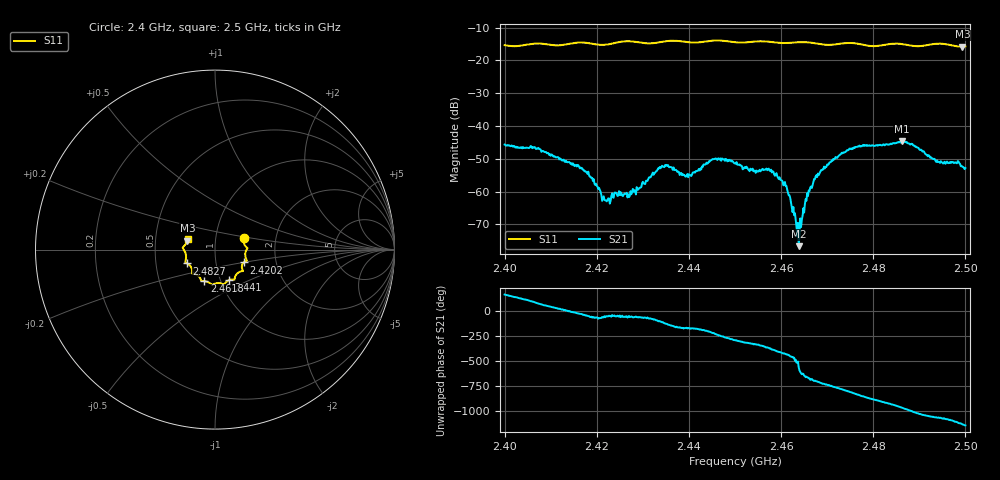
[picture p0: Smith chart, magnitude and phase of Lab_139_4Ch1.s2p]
# Hz S RI R 50
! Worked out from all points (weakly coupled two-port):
!   601 points, 2.4 GHz to 2.5 GHz, reference 50 ohm
!   highest |S21| = -44.68 dB at 2.4862 GHz (marker M1); lowest = -76.7 dB at 2.4638 GHz (marker M2)
!   lowest |S11| = -15.8 dB at 2.4993 GHz (marker M3), VSWR 1.39, Z = 36.5 + j3.8 ohm
!   |S11| at or under -10 dB: start of sweep to end of sweep
!   S12 and S22 are empty: the file has one direction only
!   S11 on the Smith chart (normalised r, x): 2.4 GHz: 1.36, +0.18; 2.4202 GHz: 1.36, -0.20; 2.441 GHz: 1.10, -0.39; 2.4618 GHz: 0.84, -0.30; 2.4827 GHz: 0.72, -0.11; 2.5 GHz: 0.73, +0.09
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2.4e9  0.1589 0.0628  -0.00512 0.000889  0 0  0 0
2.407e9  0.1808 0.0086  0.000406 0.00452  0 0  0 0
2.416667e9  0.1774 -0.0608  0.00203 -0.00097  0 0  0 0
2.420167e9  0.1589 -0.0717  0.000503 -0.00107  0 0  0 0
2.421667e9  0.1512 -0.0842  0.000491 -0.00056  0 0  0 0
2.427167e9  0.1553 -0.1193  0.000475 -0.000712  0 0  0 0
2.433333e9  0.1117 -0.1507  -0.000378 -0.00224  0 0  0 0
2.441e9  0.0789 -0.1699  -0.00196 -0.000218  0 0  0 0
2.445333e9  0.0511 -0.194  -0.00245 0.00192  0 0  0 0
2.45e9  0.0286 -0.1874  0.000874 0.00254  0 0  0 0
2.457833e9  -0.0241 -0.1897  0.00205 -0.000678  0 0  0 0
2.460667e9  -0.0475 -0.1776  0.000581 -0.00114  0 0  0 0
2.461833e9  -0.0591 -0.1757  3.68e-05 -0.000873  0 0  0 0
2.463833e9  -0.0729 -0.1751  -0.000131 6.7e-05  0 0  0 0
2.466667e9  -0.0788 -0.1683  0.000887 0.000701  0 0  0 0
2.468833e9  -0.0864 -0.1528  0.0021 -0.000186  0 0  0 0
2.474667e9  -0.1268 -0.1341  0.00027 -0.00432  0 0  0 0
2.482667e9  -0.156 -0.0771  -0.00484 0.00196  0 0  0 0
2.483333e9  -0.1603 -0.0752  -0.00451 0.00255  0 0  0 0
2.486167e9  -0.1651 -0.0661  -0.00199 0.00548  0 0  0 0
2.499333e9  -0.1541 0.0507  0.00121 -0.00204  0 0  0 0
2.5e9  -0.1522 0.0602  0.000758 -0.00215  0 0  0 0
